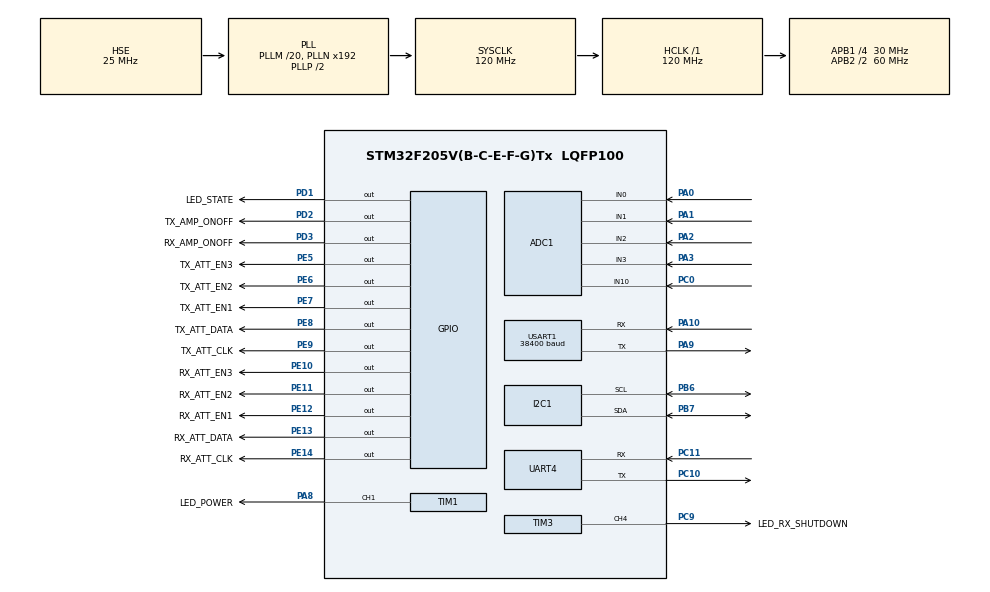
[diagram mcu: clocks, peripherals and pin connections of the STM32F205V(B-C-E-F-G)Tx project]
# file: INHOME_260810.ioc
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ADC1.Channel-0\#ChannelRegularConversion=ADC_CHANNEL_0
ADC1.Channel-1\#ChannelRegularConversion=ADC_CHANNEL_1
ADC1.Channel-2\#ChannelRegularConversion=ADC_CHANNEL_2
ADC1.Channel-3\#ChannelRegularConversion=ADC_CHANNEL_3
ADC1.Channel-4\#ChannelRegularConversion=ADC_CHANNEL_10
ADC1.ContinuousConvMode=DISABLE
ADC1.DMAContinuousRequests=ENABLE
ADC1.EOCSelection=ADC_EOC_SEQ_CONV
ADC1.ExternalTrigConv=ADC_EXTERNALTRIGCONV_T3_TRGO
ADC1.NbrOfConversion=5
ADC1.NbrOfConversionFlag=1
ADC1.Rank-0\#ChannelRegularConversion=1
ADC1.Rank-1\#ChannelRegularConversion=2
ADC1.Rank-2\#ChannelRegularConversion=3
ADC1.Rank-3\#ChannelRegularConversion=4
ADC1.Rank-4\#ChannelRegularConversion=5
ADC1.SamplingTime-0\#ChannelRegularConversion=ADC_SAMPLETIME_3CYCLES
ADC1.SamplingTime-1\#ChannelRegularConversion=ADC_SAMPLETIME_3CYCLES
ADC1.SamplingTime-2\#ChannelRegularConversion=ADC_SAMPLETIME_3CYCLES
ADC1.SamplingTime-3\#ChannelRegularConversion=ADC_SAMPLETIME_3CYCLES
ADC1.SamplingTime-4\#ChannelRegularConversion=ADC_SAMPLETIME_3CYCLES
ADC1.master=1
Dma.ADC1.0.Direction=DMA_PERIPH_TO_MEMORY
Dma.ADC1.0.FIFOMode=DMA_FIFOMODE_DISABLE
Dma.ADC1.0.Instance=DMA2_Stream0
Dma.ADC1.0.MemDataAlignment=DMA_MDATAALIGN_HALFWORD
Dma.ADC1.0.MemInc=DMA_MINC_ENABLE
Dma.ADC1.0.Mode=DMA_CIRCULAR
Dma.ADC1.0.PeriphDataAlignment=DMA_PDATAALIGN_HALFWORD
Dma.ADC1.0.PeriphInc=DMA_PINC_DISABLE
Dma.ADC1.0.Priority=DMA_PRIORITY_LOW
Dma.Request0=ADC1
Mcu.Family=STM32F2
Mcu.Name=STM32F205V(B-C-E-F-G)Tx
Mcu.Package=LQFP100
NVIC.DMA2_Stream0_IRQn=true\:0\:0\:false\:false\:true\:false\:true\:true
NVIC.I2C1_ER_IRQn=true\:0\:0\:false\:false\:true\:true\:true\:true
NVIC.I2C1_EV_IRQn=true\:0\:0\:false\:false\:true\:true\:true\:true
NVIC.PriorityGroup=NVIC_PRIORITYGROUP_4
NVIC.UART4_IRQn=true\:0\:0\:false\:false\:true\:true\:true\:true
NVIC.USART1_IRQn=true\:0\:0\:false\:false\:true\:true\:true\:true
PA0-WKUP.Signal=ADCx_IN0
PA1.Signal=ADCx_IN1
PA10.Mode=Asynchronous
PA10.Signal=USART1_RX
PA11.GPIO_Label=LED_TX_SHUTDOWN
PA11.Signal=S_TIM1_CH4
PA13.Mode=JTAG_5_pins
PA13.Signal=SYS_JTMS-SWDIO
PA14.Mode=JTAG_5_pins
PA14.Signal=SYS_JTCK-SWCLK
PA15.Mode=JTAG_5_pins
PA15.Signal=SYS_JTDI
PA2.Signal=ADCx_IN2
PA3.Signal=ADCx_IN3
PA8.GPIO_Label=LED_POWER
PA8.Signal=S_TIM1_CH1
PA9.Mode=Asynchronous
PA9.Signal=USART1_TX
PB3.Mode=JTAG_5_pins
PB3.Signal=SYS_JTDO-SWO
PB4.Mode=JTAG_5_pins
PB4.Signal=SYS_JTRST
PB6.GPIO_Pu=GPIO_PULLUP
PB6.Mode=I2C
PB6.Signal=I2C1_SCL
PB7.GPIO_Pu=GPIO_PULLUP
PB7.Mode=I2C
PB7.Signal=I2C1_SDA
PC0.Signal=ADCx_IN10
PC10.Mode=Asynchronous
PC10.Signal=UART4_TX
PC11.Mode=Asynchronous
PC11.Signal=UART4_RX
PC14-OSC32_IN.Mode=LSE-External-Oscillator
PC14-OSC32_IN.Signal=RCC_OSC32_IN
PC15-OSC32_OUT.Mode=LSE-External-Oscillator
PC15-OSC32_OUT.Signal=RCC_OSC32_OUT
PC9.GPIO_Label=LED_RX_SHUTDOWN
PC9.Signal=S_TIM3_CH4
PD1.GPIO_Label=LED_STATE
PD1.Signal=GPIO_Output
PD2.GPIO_Label=TX_AMP_ONOFF
PD2.Signal=GPIO_Output
PD3.GPIO_Label=RX_AMP_ONOFF
PD3.Signal=GPIO_Output
PE10.GPIO_Label=RX_ATT_EN3
PE10.Signal=GPIO_Output
PE11.GPIO_Label=RX_ATT_EN2
PE11.Signal=GPIO_Output
PE12.GPIO_Label=RX_ATT_EN1
PE12.Signal=GPIO_Output
PE13.GPIO_Label=RX_ATT_DATA
PE13.Signal=GPIO_Output
PE14.GPIO_Label=RX_ATT_CLK
PE14.Signal=GPIO_Output
PE5.GPIO_Label=TX_ATT_EN3
PE5.Signal=GPIO_Output
PE6.GPIO_Label=TX_ATT_EN2
PE6.Signal=GPIO_Output
PE7.GPIO_Label=TX_ATT_EN1
PE7.Signal=GPIO_Output
PE8.GPIO_Label=TX_ATT_DATA
PE8.Signal=GPIO_Output
PE9.GPIO_Label=TX_ATT_CLK
PE9.Signal=GPIO_Output
PH0-OSC_IN.Mode=HSE-External-Oscillator
PH0-OSC_IN.Signal=RCC_OSC_IN
PH1-OSC_OUT.Mode=HSE-External-Oscillator
PH1-OSC_OUT.Signal=RCC_OSC_OUT
ProjectManager.HeapSize=0x200
ProjectManager.StackSize=0x400
ProjectManager.TargetToolchain=STM32CubeIDE
RCC.48MHZClocksFreq_Value=60000000
RCC.AHBFreq_Value=120000000
RCC.APB1CLKDivider=RCC_HCLK_DIV4
RCC.APB1Freq_Value=30000000
RCC.APB1TimFreq_Value=60000000
RCC.APB2CLKDivider=RCC_HCLK_DIV2
RCC.APB2Freq_Value=60000000
RCC.APB2TimFreq_Value=120000000
RCC.CortexFreq_Value=120000000
RCC.HCLKFreq_Value=120000000
RCC.HSE_VALUE=25000000
RCC.HSI_VALUE=16000000
RCC.PLLM=20
RCC.PLLSourceVirtual=RCC_PLLSOURCE_HSE
RCC.SYSCLKFreq_VALUE=120000000
RCC.SYSCLKSource=RCC_SYSCLKSOURCE_PLLCLK
RCC.VCOOutputFreq_Value=240000000
SH.ADCx_IN0.0=ADC1_IN0,IN0
SH.ADCx_IN1.0=ADC1_IN1,IN1
SH.ADCx_IN10.0=ADC1_IN10,IN10
SH.ADCx_IN2.0=ADC1_IN2,IN2
SH.ADCx_IN3.0=ADC1_IN3,IN3
SH.S_TIM1_CH1.0=TIM1_CH1,PWM Generation1 CH1
SH.S_TIM1_CH4.0=TIM1_CH4
SH.S_TIM3_CH4.0=TIM3_CH4,PWM Generation4 CH4
TIM1.AutoReloadPreload=TIM_AUTORELOAD_PRELOAD_ENABLE
TIM1.Channel-PWM\ Generation1\ CH1=TIM_CHANNEL_1
TIM1.Period=3000-1
TIM1.Prescaler=1
TIM1.Pulse-PWM\ Generation1\ CH1=1500
TIM3.Channel-PWM\ Generation4\ CH4=TIM_CHANNEL_4
TIM3.Prescaler=60-1
TIM3.TIM_MasterOutputTrigger=TIM_TRGO_UPDATE
TIM3.TIM_MasterSlaveMode=TIM_MASTERSLAVEMODE_ENABLE
UART4.VirtualMode=Asynchronous
USART1.BaudRate=38400
USART1.VirtualMode=VM_ASYNC
VP_TIM1_VS_ClockSourceINT.Mode=Internal
VP_TIM3_VS_ClockSourceINT.Mode=Internal
board=custom

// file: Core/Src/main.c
/* USER CODE BEGIN Header */
/**
  ******************************************************************************
  * @file           : main.c
  * @brief          : Main program body
  ******************************************************************************
  * @attention
  *
  * Copyright (c) 2026 STMicroelectronics.
  * All rights reserved.
  *
  * This software is licensed under terms that can be found in the LICENSE file
  * in the root directory of this software component.
  * If no LICENSE file comes with this software, it is provided AS-IS.
  *
  ******************************************************************************
  */
/* USER CODE END Header */
#include "main.h"

/* USER CODE BEGIN Includes */
#include "common.h"
#include "project.h"

#include "bsp_uart.h"
#include "bsp_timer.h"
#include "bsp_adc.h"
#include "bsp_led.h"
#include "bsp_init.h"
#include "bsp_eep.h"
#include "gui.h"
#include "Alarm.h"
#include "Alc.h"
#include "iso.h"
#include "Osc.h"
#include "Shutdown.h"
#include "bsp_debug.h"
/* USER CODE END Includes */

ADC_HandleTypeDef hadc1;
DMA_HandleTypeDef hdma_adc1;

I2C_HandleTypeDef hi2c1;

TIM_HandleTypeDef htim1;
TIM_HandleTypeDef htim3;

UART_HandleTypeDef huart4;
UART_HandleTypeDef huart1;

void SystemClock_Config(void);
static void MX_GPIO_Init(void);
static void MX_DMA_Init(void);
static void MX_ADC1_Init(void);
static void MX_TIM3_Init(void);
static void MX_USART1_UART_Init(void);
static void MX_UART4_Init(void);
static void MX_I2C1_Init(void);
static void MX_TIM1_Init(void);

int main(void)
{

  /* USER CODE BEGIN 1 */
  __enable_irq();
  /* USER CODE END 1 */

  /* MCU Configuration--------------------------------------------------------*/

  /* Reset of all peripherals, Initializes the Flash interface and the Systick. */
  HAL_Init();

  /* Configure the system clock */
  SystemClock_Config();

  /* Initialize all configured peripherals */
  MX_GPIO_Init();
  MX_DMA_Init();
  MX_ADC1_Init();
  MX_TIM3_Init();
  MX_USART1_UART_Init();
  MX_UART4_Init();
  MX_I2C1_Init();
  MX_TIM1_Init();
  /* USER CODE BEGIN 2 */
  bsp_Init();

  /* USER CODE END 2 */

  /* Infinite loop */
  /* USER CODE BEGIN WHILE */
  while (1)
  {
    Timer_Task();
    Alarm_Task();
    LED_Task();
    Adc_Task();
    Gui_Task();
    Alc_Task();
    Iso_Task();
    Osc_Task();
    Shutdown_Task();

    Debug_Task();

    /* USER CODE END WHILE */

  }
}

void SystemClock_Config(void)
{
  RCC_OscInitTypeDef RCC_OscInitStruct = {0};
  RCC_ClkInitTypeDef RCC_ClkInitStruct = {0};

  /** Initializes the RCC Oscillators according to the specified parameters
  * in the RCC_OscInitTypeDef structure.
  */
  RCC_OscInitStruct.OscillatorType = RCC_OSCILLATORTYPE_HSE;
  RCC_OscInitStruct.HSEState = RCC_HSE_ON;
  RCC_OscInitStruct.PLL.PLLState = RCC_PLL_ON;
  RCC_OscInitStruct.PLL.PLLSource = RCC_PLLSOURCE_HSE;
  RCC_OscInitStruct.PLL.PLLM = 20;
  RCC_OscInitStruct.PLL.PLLN = 192;
  RCC_OscInitStruct.PLL.PLLP = RCC_PLLP_DIV2;
  RCC_OscInitStruct.PLL.PLLQ = 4;
  if (HAL_RCC_OscConfig(&RCC_OscInitStruct) != HAL_OK)
  {
    Error_Handler();
  }

  /** Initializes the CPU, AHB and APB buses clocks
  */
  RCC_ClkInitStruct.ClockType = RCC_CLOCKTYPE_HCLK|RCC_CLOCKTYPE_SYSCLK
                              |RCC_CLOCKTYPE_PCLK1|RCC_CLOCKTYPE_PCLK2;
  RCC_ClkInitStruct.SYSCLKSource = RCC_SYSCLKSOURCE_PLLCLK;
  RCC_ClkInitStruct.AHBCLKDivider = RCC_SYSCLK_DIV1;
  RCC_ClkInitStruct.APB1CLKDivider = RCC_HCLK_DIV4;
  RCC_ClkInitStruct.APB2CLKDivider = RCC_HCLK_DIV2;

  if (HAL_RCC_ClockConfig(&RCC_ClkInitStruct, FLASH_LATENCY_3) != HAL_OK)
  {
    Error_Handler();
  }
}

static void MX_ADC1_Init(void)
{

  ADC_ChannelConfTypeDef sConfig = {0};

  /** Configure the global features of the ADC (Clock, Resolution, Data Alignment and number of conversion)
  */
  hadc1.Instance = ADC1;
  hadc1.Init.ClockPrescaler = ADC_CLOCK_SYNC_PCLK_DIV2;
  hadc1.Init.Resolution = ADC_RESOLUTION_12B;
  hadc1.Init.ScanConvMode = ENABLE;
  hadc1.Init.ContinuousConvMode = DISABLE;
  hadc1.Init.DiscontinuousConvMode = DISABLE;
  hadc1.Init.ExternalTrigConvEdge = ADC_EXTERNALTRIGCONVEDGE_RISING;
  hadc1.Init.ExternalTrigConv = ADC_EXTERNALTRIGCONV_T3_TRGO;
  hadc1.Init.DataAlign = ADC_DATAALIGN_RIGHT;
  hadc1.Init.NbrOfConversion = 5;
  hadc1.Init.DMAContinuousRequests = ENABLE;
  hadc1.Init.EOCSelection = ADC_EOC_SEQ_CONV;
  if (HAL_ADC_Init(&hadc1) != HAL_OK)
  {
    Error_Handler();
  }

  /** Configure for the selected ADC regular channel its corresponding rank in the sequencer and its sample time.
  */
  sConfig.Channel = ADC_CHANNEL_0;
  sConfig.Rank = 1;
  sConfig.SamplingTime = ADC_SAMPLETIME_3CYCLES;
  if (HAL_ADC_ConfigChannel(&hadc1, &sConfig) != HAL_OK)
  {
    Error_Handler();
  }

  /** Configure for the selected ADC regular channel its corresponding rank in the sequencer and its sample time.
  */
  sConfig.Channel = ADC_CHANNEL_1;
  sConfig.Rank = 2;
  if (HAL_ADC_ConfigChannel(&hadc1, &sConfig) != HAL_OK)
  {
    Error_Handler();
  }

  /** Configure for the selected ADC regular channel its corresponding rank in the sequencer and its sample time.
  */
  sConfig.Channel = ADC_CHANNEL_2;
  sConfig.Rank = 3;
  if (HAL_ADC_ConfigChannel(&hadc1, &sConfig) != HAL_OK)
  {
    Error_Handler();
  }

  /** Configure for the selected ADC regular channel its corresponding rank in the sequencer and its sample time.
  */
  sConfig.Channel = ADC_CHANNEL_3;
  sConfig.Rank = 4;
  if (HAL_ADC_ConfigChannel(&hadc1, &sConfig) != HAL_OK)
  {
    Error_Handler();
  }

  /** Configure for the selected ADC regular channel its corresponding rank in the sequencer and its sample time.
  */
  sConfig.Channel = ADC_CHANNEL_10;
  sConfig.Rank = 5;
  if (HAL_ADC_ConfigChannel(&hadc1, &sConfig) != HAL_OK)
  {
    Error_Handler();
  }

}

static void MX_I2C1_Init(void)
{

  hi2c1.Instance = I2C1;
  hi2c1.Init.ClockSpeed = 100000;
  hi2c1.Init.DutyCycle = I2C_DUTYCYCLE_2;
  hi2c1.Init.OwnAddress1 = 0;
  hi2c1.Init.AddressingMode = I2C_ADDRESSINGMODE_7BIT;
  hi2c1.Init.DualAddressMode = I2C_DUALADDRESS_DISABLE;
  hi2c1.Init.OwnAddress2 = 0;
  hi2c1.Init.GeneralCallMode = I2C_GENERALCALL_DISABLE;
  hi2c1.Init.NoStretchMode = I2C_NOSTRETCH_DISABLE;
  if (HAL_I2C_Init(&hi2c1) != HAL_OK)
  {
    Error_Handler();
  }

}

static void MX_TIM1_Init(void)
{

  TIM_ClockConfigTypeDef sClockSourceConfig = {0};
  TIM_MasterConfigTypeDef sMasterConfig = {0};
  TIM_OC_InitTypeDef sConfigOC = {0};
  TIM_BreakDeadTimeConfigTypeDef sBreakDeadTimeConfig = {0};

  htim1.Instance = TIM1;
  htim1.Init.Prescaler = 1;
  htim1.Init.CounterMode = TIM_COUNTERMODE_UP;
  htim1.Init.Period = 3000-1;
  htim1.Init.ClockDivision = TIM_CLOCKDIVISION_DIV1;
  htim1.Init.RepetitionCounter = 0;
  htim1.Init.AutoReloadPreload = TIM_AUTORELOAD_PRELOAD_ENABLE;
  if (HAL_TIM_Base_Init(&htim1) != HAL_OK)
  {
    Error_Handler();
  }
  sClockSourceConfig.ClockSource = TIM_CLOCKSOURCE_INTERNAL;
  if (HAL_TIM_ConfigClockSource(&htim1, &sClockSourceConfig) != HAL_OK)
  {
    Error_Handler();
  }
  if (HAL_TIM_PWM_Init(&htim1) != HAL_OK)
  {
    Error_Handler();
  }
  sMasterConfig.MasterOutputTrigger = TIM_TRGO_RESET;
  sMasterConfig.MasterSlaveMode = TIM_MASTERSLAVEMODE_DISABLE;
  if (HAL_TIMEx_MasterConfigSynchronization(&htim1, &sMasterConfig) != HAL_OK)
  {
    Error_Handler();
  }
  sConfigOC.OCMode = TIM_OCMODE_PWM1;
  sConfigOC.Pulse = 1500;
  sConfigOC.OCPolarity = TIM_OCPOLARITY_HIGH;
  sConfigOC.OCNPolarity = TIM_OCNPOLARITY_HIGH;
  sConfigOC.OCFastMode = TIM_OCFAST_DISABLE;
  sConfigOC.OCIdleState = TIM_OCIDLESTATE_RESET;
  sConfigOC.OCNIdleState = TIM_OCNIDLESTATE_RESET;
  if (HAL_TIM_PWM_ConfigChannel(&htim1, &sConfigOC, TIM_CHANNEL_1) != HAL_OK)
  {
    Error_Handler();
  }
  sBreakDeadTimeConfig.OffStateRunMode = TIM_OSSR_DISABLE;
  sBreakDeadTimeConfig.OffStateIDLEMode = TIM_OSSI_DISABLE;
  sBreakDeadTimeConfig.LockLevel = TIM_LOCKLEVEL_OFF;
  sBreakDeadTimeConfig.DeadTime = 0;
  sBreakDeadTimeConfig.BreakState = TIM_BREAK_DISABLE;
  sBreakDeadTimeConfig.BreakPolarity = TIM_BREAKPOLARITY_HIGH;
  sBreakDeadTimeConfig.AutomaticOutput = TIM_AUTOMATICOUTPUT_DISABLE;
  if (HAL_TIMEx_ConfigBreakDeadTime(&htim1, &sBreakDeadTimeConfig) != HAL_OK)
  {
    Error_Handler();
  }
  HAL_TIM_MspPostInit(&htim1);

}

static void MX_TIM3_Init(void)
{

  TIM_ClockConfigTypeDef sClockSourceConfig = {0};
  TIM_MasterConfigTypeDef sMasterConfig = {0};
  TIM_OC_InitTypeDef sConfigOC = {0};

  htim3.Instance = TIM3;
  htim3.Init.Prescaler = 60-1;
  htim3.Init.CounterMode = TIM_COUNTERMODE_UP;
  htim3.Init.Period = 65535;
  htim3.Init.ClockDivision = TIM_CLOCKDIVISION_DIV1;
  htim3.Init.AutoReloadPreload = TIM_AUTORELOAD_PRELOAD_DISABLE;
  if (HAL_TIM_Base_Init(&htim3) != HAL_OK)
  {
    Error_Handler();
  }
  sClockSourceConfig.ClockSource = TIM_CLOCKSOURCE_INTERNAL;
  if (HAL_TIM_ConfigClockSource(&htim3, &sClockSourceConfig) != HAL_OK)
  {
    Error_Handler();
  }
  if (HAL_TIM_PWM_Init(&htim3) != HAL_OK)
  {
    Error_Handler();
  }
  sMasterConfig.MasterOutputTrigger = TIM_TRGO_UPDATE;
  sMasterConfig.MasterSlaveMode = TIM_MASTERSLAVEMODE_ENABLE;
  if (HAL_TIMEx_MasterConfigSynchronization(&htim3, &sMasterConfig) != HAL_OK)
  {
    Error_Handler();
  }
  sConfigOC.OCMode = TIM_OCMODE_PWM1;
  sConfigOC.Pulse = 0;
  sConfigOC.OCPolarity = TIM_OCPOLARITY_HIGH;
  sConfigOC.OCFastMode = TIM_OCFAST_DISABLE;
  if (HAL_TIM_PWM_ConfigChannel(&htim3, &sConfigOC, TIM_CHANNEL_4) != HAL_OK)
  {
    Error_Handler();
  }
  HAL_TIM_MspPostInit(&htim3);

}

static void MX_UART4_Init(void)
{

  huart4.Instance = UART4;
  huart4.Init.BaudRate = 115200;
  huart4.Init.WordLength = UART_WORDLENGTH_8B;
  huart4.Init.StopBits = UART_STOPBITS_1;
  huart4.Init.Parity = UART_PARITY_NONE;
  huart4.Init.Mode = UART_MODE_TX_RX;
  huart4.Init.HwFlowCtl = UART_HWCONTROL_NONE;
  huart4.Init.OverSampling = UART_OVERSAMPLING_16;
  if (HAL_UART_Init(&huart4) != HAL_OK)
  {
    Error_Handler();
  }

}

static void MX_USART1_UART_Init(void)
{

  huart1.Instance = USART1;
  huart1.Init.BaudRate = 38400;
  huart1.Init.WordLength = UART_WORDLENGTH_8B;
  huart1.Init.StopBits = UART_STOPBITS_1;
  huart1.Init.Parity = UART_PARITY_NONE;
  huart1.Init.Mode = UART_MODE_TX_RX;
  huart1.Init.HwFlowCtl = UART_HWCONTROL_NONE;
  huart1.Init.OverSampling = UART_OVERSAMPLING_16;
  if (HAL_UART_Init(&huart1) != HAL_OK)
  {
    Error_Handler();
  }

}

static void MX_DMA_Init(void)
{

  /* DMA controller clock enable */
  __HAL_RCC_DMA2_CLK_ENABLE();

  /* DMA interrupt init */
  /* DMA2_Stream0_IRQn interrupt configuration */
  HAL_NVIC_SetPriority(DMA2_Stream0_IRQn, 0, 0);
  HAL_NVIC_EnableIRQ(DMA2_Stream0_IRQn);

}

static void MX_GPIO_Init(void)
{
  GPIO_InitTypeDef GPIO_InitStruct = {0};

  /* GPIO Ports Clock Enable */
  __HAL_RCC_GPIOE_CLK_ENABLE();
  __HAL_RCC_GPIOC_CLK_ENABLE();
  __HAL_RCC_GPIOH_CLK_ENABLE();
  __HAL_RCC_GPIOA_CLK_ENABLE();
  __HAL_RCC_GPIOD_CLK_ENABLE();
  __HAL_RCC_GPIOB_CLK_ENABLE();

  /*Configure GPIO pin Output Level */
  HAL_GPIO_WritePin(GPIOE, TX_ATT_EN3_Pin|TX_ATT_EN2_Pin|TX_ATT_EN1_Pin|TX_ATT_DATA_Pin
                          |TX_ATT_CLK_Pin|RX_ATT_EN3_Pin|RX_ATT_EN2_Pin|RX_ATT_EN1_Pin
                          |RX_ATT_DATA_Pin|RX_ATT_CLK_Pin, GPIO_PIN_RESET);

  /*Configure GPIO pin Output Level */
  HAL_GPIO_WritePin(GPIOD, LED_STATE_Pin|TX_AMP_ONOFF_Pin|RX_AMP_ONOFF_Pin, GPIO_PIN_RESET);

  /*Configure GPIO pins : TX_ATT_EN3_Pin TX_ATT_EN2_Pin TX_ATT_EN1_Pin TX_ATT_DATA_Pin
                           TX_ATT_CLK_Pin RX_ATT_EN3_Pin RX_ATT_EN2_Pin RX_ATT_EN1_Pin
                           RX_ATT_DATA_Pin RX_ATT_CLK_Pin */
  GPIO_InitStruct.Pin = TX_ATT_EN3_Pin|TX_ATT_EN2_Pin|TX_ATT_EN1_Pin|TX_ATT_DATA_Pin
                          |TX_ATT_CLK_Pin|RX_ATT_EN3_Pin|RX_ATT_EN2_Pin|RX_ATT_EN1_Pin
                          |RX_ATT_DATA_Pin|RX_ATT_CLK_Pin;
  GPIO_InitStruct.Mode = GPIO_MODE_OUTPUT_PP;
  GPIO_InitStruct.Pull = GPIO_NOPULL;
  GPIO_InitStruct.Speed = GPIO_SPEED_FREQ_LOW;
  HAL_GPIO_Init(GPIOE, &GPIO_InitStruct);

  /*Configure GPIO pins : LED_STATE_Pin TX_AMP_ONOFF_Pin RX_AMP_ONOFF_Pin */
  GPIO_InitStruct.Pin = LED_STATE_Pin|TX_AMP_ONOFF_Pin|RX_AMP_ONOFF_Pin;
  GPIO_InitStruct.Mode = GPIO_MODE_OUTPUT_PP;
  GPIO_InitStruct.Pull = GPIO_NOPULL;
  GPIO_InitStruct.Speed = GPIO_SPEED_FREQ_LOW;
  HAL_GPIO_Init(GPIOD, &GPIO_InitStruct);

}

void Error_Handler(void)
{
  __disable_irq();
  while (1)
  {
  }
}
